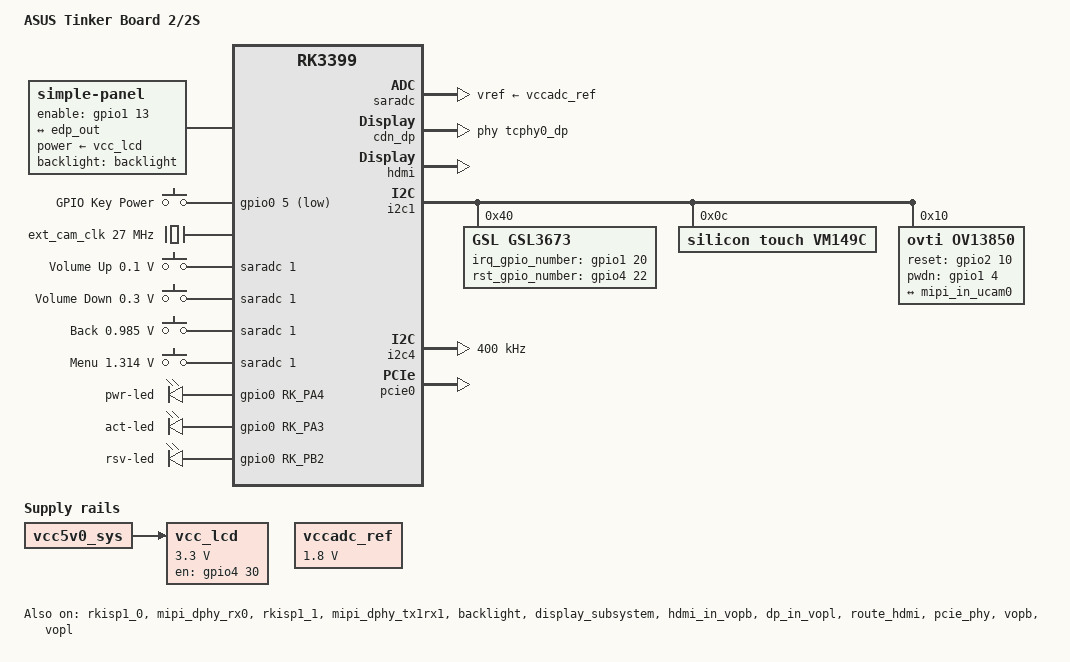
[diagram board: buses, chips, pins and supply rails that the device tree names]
// SPDX-License-Identifier: (GPL-2.0+ OR MIT)
/*
 * Copyright (c) 2022 Rockchip Electronics Co., Ltd.
 *
 */

/dts-v1/;

#include "rk3399-tinker_board_2.dtsi"
#include <dt-bindings/input/input.h>

/ {
	model = "ASUS Tinker Board 2/2S";
	compatible = "rockchip,rk3399-tinker_board_2", "rockchip,rk3399";

	vcc_lcd: vcc-lcd {
		compatible = "regulator-fixed";
		regulator-name = "vcc_lcd";
		gpio = <&gpio4 30 GPIO_ACTIVE_HIGH>;
		startup-delay-us = <20000>;
		enable-active-high;
		regulator-min-microvolt = <3300000>;
		regulator-max-microvolt = <3300000>;
		regulator-boot-on;
		vin-supply = <&vcc5v0_sys>;
	};

	panel: panel {
		compatible = "simple-panel";
		backlight = <&backlight>;
		power-supply = <&vcc_lcd>;
		enable-gpios = <&gpio1 13 GPIO_ACTIVE_HIGH>;
		prepare-delay-ms = <20>;
		enable-delay-ms = <20>;

		display-timings {
			native-mode = <&timing0>;

			timing0: timing0 {
				clock-frequency = <200000000>;
				hactive = <1536>;
				vactive = <2048>;
				hfront-porch = <12>;
				hsync-len = <16>;
				hback-porch = <48>;
				vfront-porch = <8>;
				vsync-len = <4>;
				vback-porch = <8>;
				hsync-active = <0>;
				vsync-active = <0>;
				de-active = <0>;
				pixelclk-active = <0>;
			};
		};

		ports {
			panel_in: endpoint {
				remote-endpoint = <&edp_out>;
			};
		};
	};

	hdmi_sound: hdmi-sound {
		status = "okay";
	};

	gpio-keys {
		compatible = "gpio-keys";
		#address-cells = <1>;
		#size-cells = <0>;
		autorepeat;

		pinctrl-names = "default";
		pinctrl-0 = <&pwrbtn>;

		button@0 {
			gpios = <&gpio0 5 GPIO_ACTIVE_LOW>;
			linux,code = <KEY_POWER>;
			label = "GPIO Key Power";
			linux,input-type = <1>;
			gpio-key,wakeup = <1>;
			debounce-interval = <100>;
		};
	};

	vccadc_ref: vccadc-ref {
		compatible = "regulator-fixed";
		regulator-name = "vcc1v8_sys";
		regulator-always-on;
		regulator-boot-on;
		regulator-min-microvolt = <1800000>;
		regulator-max-microvolt = <1800000>;
	};

	ext_cam_clk: external-camera-clock {
		compatible = "fixed-clock";
		clock-frequency = <27000000>;
		clock-output-names = "CLK_CAMERA_27MHZ";
		#clock-cells = <0>;
	};

	adc-keys {
		compatible = "adc-keys";
		io-channels = <&saradc 1>;
		io-channel-names = "buttons";
		poll-interval = <100>;
		keyup-threshold-microvolt = <1800000>;

		button-up {
			label = "Volume Up";
			linux,code = <KEY_VOLUMEUP>;
			press-threshold-microvolt = <100000>;
		};

		button-down {
			label = "Volume Down";
			linux,code = <KEY_VOLUMEDOWN>;
			press-threshold-microvolt = <300000>;
		};

		back {
			label = "Back";
			linux,code = <KEY_BACK>;
			press-threshold-microvolt = <985000>;
		};

		menu {
			label = "Menu";
			linux,code = <KEY_MENU>;
			press-threshold-microvolt = <1314000>;
		};
	};

	gpio-leds {
		compatible = "gpio-leds";

		pwr-led {
			gpios = <&gpio0 RK_PA4 GPIO_ACTIVE_HIGH>;
			linux,default-trigger = "default-on";
			retain-state-suspended = <1>;
		};

		act-led {
			gpios = <&gpio0 RK_PA3 GPIO_ACTIVE_HIGH>;
			linux,default-trigger="mmc1";
		};

		rsv-led {
			gpios = <&gpio0 RK_PB2 GPIO_ACTIVE_HIGH>;
			linux,default-trigger="none";
		};
	};

	board_info: board-info {
		compatible = "board-info";

		hw-id0 = <&gpio4 RK_PA7 GPIO_ACTIVE_HIGH>;
		hw-id1 = <&gpio4 RK_PA6 GPIO_ACTIVE_HIGH>;
		hw-id2 = <&gpio4 RK_PA5 GPIO_ACTIVE_HIGH>;

		pid-id0 = <&gpio2 RK_PA5 GPIO_ACTIVE_HIGH>;
		pid-id1 = <&gpio2 RK_PA3 GPIO_ACTIVE_HIGH>;
		pid-id2 = <&gpio2 RK_PA2 GPIO_ACTIVE_HIGH>;

		ddr-id1 = <&gpio4 RK_PA4 GPIO_ACTIVE_HIGH>;
		ddr-id2 = <&gpio4 RK_PA0 GPIO_ACTIVE_HIGH>;

		pmic-reset = <&gpio1 RK_PA6 GPIO_ACTIVE_HIGH>;
	};
};

&rkisp1_0 {
	status = "okay";

	port {
		#address-cells = <1>;
		#size-cells = <0>;

		isp0_mipi_in: endpoint@0 {
			reg = <0>;
			remote-endpoint = <&dphy_rx0_out>;
		};
	};
};

&mipi_dphy_rx0 {
	status = "okay";

	ports {
		#address-cells = <1>;
		#size-cells = <0>;

		port@0 {
			reg = <0>;
			#address-cells = <1>;
			#size-cells = <0>;

			mipi_in_ucam0: endpoint@1 {
				reg = <1>;
				remote-endpoint = <&ucam_out0>;
				data-lanes = <1 2>;
			};
		};

		port@1 {
			reg = <1>;
			#address-cells = <1>;
			#size-cells = <0>;

			dphy_rx0_out: endpoint@0 {
				reg = <0>;
				remote-endpoint = <&isp0_mipi_in>;
			};
		};
	};
};

&isp0_mmu {
	status = "okay";
};

&rkisp1_1 {
	status = "okay";

	port {
		#address-cells = <1>;
		#size-cells = <0>;

		isp1_mipi_in: endpoint@0 {
			reg = <0>;
			remote-endpoint = <&dphy_tx1rx1_out>;
		};
	};
};

&mipi_dphy_tx1rx1 {
	status = "okay";

	ports {
		#address-cells = <1>;
		#size-cells = <0>;

		port@0 {
			reg = <0>;
			#address-cells = <1>;
			#size-cells = <0>;

			mipi_in_ucam1: endpoint@1 {
				reg = <1>;
				/* Unlinked camera */
				//remote-endpoint = <&ucam_out1>;
				data-lanes = <1 2>;
			};
		};

		port@1 {
			reg = <1>;
			#address-cells = <1>;
			#size-cells = <0>;

			dphy_tx1rx1_out: endpoint@0 {
				reg = <0>;
				remote-endpoint = <&isp1_mipi_in>;
			};
		};
	};
};

&isp1_mmu {
	status = "okay";
};

&saradc {
	vref-supply = <&vccadc_ref>;
};

&backlight {
	status = "okay";
	enable-gpios = <&gpio4 29 GPIO_ACTIVE_HIGH>;
};

&cdn_dp {
	status = "okay";
	phys = <&tcphy0_dp>;
};

&display_subsystem {
	status = "okay";
};

&route_edp {
	status = "disabled";
};

&edp {
	status = "disabled";
	force-hpd;

	ports {
		port@1 {
			reg = <1>;

			edp_out: endpoint {
				remote-endpoint = <&panel_in>;
			};
		};
	};
};

&edp_in_vopb {
	status = "disabled";
};

&hdmi {
	pinctrl-0 = <&hdmi_i2c_xfer>, <&hdmi_cec>;
	#sound-dai-cells = <0>;
	rockchip,phy-table =
		<92812500 0x8009 0x0000 0x02ed>,
		<165000000 0x8019 0x0000 0x02cd>,
		<185625000 0x8019 0x0000 0x02cd>,
		<297000000 0x800b 0x0000 0x01cd>,
		<594000000 0x8029 0x0000 0x00a4>,
		<000000000 0x0000 0x0000 0x0000>;
	status = "okay";
};

&hdmi_in_vopb {
	status = "okay";
};

&hdmi_in_vopl {
	status = "disabled";
};

&dp_in_vopb {
	status = "disabled";
};

&dp_in_vopl {
	status = "okay";
};

&route_hdmi {
	status = "okay";
	connect = <&vopb_out_hdmi>;
};

&i2c1 {
	status = "okay";

	gsl3673: gsl3673@40 {
		compatible = "GSL,GSL3673";
		reg = <0x40>;
		screen_max_x = <1536>;
		screen_max_y = <2048>;
		irq_gpio_number = <&gpio1 20 IRQ_TYPE_LEVEL_LOW>;
		rst_gpio_number = <&gpio4 22 GPIO_ACTIVE_HIGH>;
	};

	tc358749x: tc358749x@f {
		compatible = "toshiba,tc358749";
		reg = <0xf>;
		clocks = <&ext_cam_clk>;
		clock-names = "refclk";
		reset-gpios = <&gpio2 7 GPIO_ACTIVE_LOW>;
		interrupt-parent = <&gpio2>;
		interrupts = <12 IRQ_TYPE_LEVEL_LOW>;
		pinctrl-names = "default";
		//pinctrl-0 = <&hdmiin_gpios>;
		status = "disabled";
		port {
			hdmiin_out0: endpoint {
				/* Unlinked mipi dphy rx0 */
				//remote-endpoint = <&mipi_in_ucam0>;
				data-lanes = <1 2 3 4>;
				clock-noncontinuous;
				link-frequencies =
					/bits/ 64 <297000000>;
			};
		};
	};

	vm149c: vm149c@0c {
		compatible = "silicon touch,vm149c";
		status = "okay";
		reg = <0x0c>;
		rockchip,camera-module-index = <0>;
		rockchip,camera-module-facing = "back";
	};

	ov13850: ov13850@10 {
		compatible = "ovti,ov13850";
		status = "okay";
		reg = <0x10>;
		clocks = <&cru SCLK_CIF_OUT>;
		clock-names = "xvclk";

		/* conflict with csi-ctl-gpios */
		reset-gpios = <&gpio2 10 GPIO_ACTIVE_HIGH>;
		pwdn-gpios = <&gpio1 4 GPIO_ACTIVE_HIGH>;
		pinctrl-names = "rockchip,camera_default";
		pinctrl-0 = <&cif_clkout>;

		lens-focus = <&vm149c>;

		port {
			ucam_out0: endpoint {
				remote-endpoint = <&mipi_in_ucam0>;
				data-lanes = <1 2>;
			};
		};
	};
};

&i2c4 {
	clock-frequency = <400000>;
	status = "okay";
};

&i2c6 {
	status = "disabled";
};

&i2c7 {
	status = "disabled";
};

&pcie_phy {
	status = "okay";
};

&pcie0 {
	status = "okay";
};

&vopb {
	status = "okay";
	assigned-clocks = <&cru DCLK_VOP0_DIV>;
	assigned-clock-parents = <&cru PLL_VPLL>;
};

&vopb_mmu {
	status = "okay";
};

&vopl {
	status = "okay";
	assigned-clocks = <&cru DCLK_VOP1_DIV>;
	assigned-clock-parents = <&cru PLL_CPLL>;
};

&vopl_mmu {
	status = "okay";
};

&sdmmc {
	sd-uhs-sdr12;
	sd-uhs-sdr25;
	sd-uhs-sdr50;
	sd-uhs-sdr104;
	supports-emmc;
};

&cluster0_opp {
	opp-1512000000 {
		opp-hz = /bits/ 64 <1512000000>;
		opp-microvolt = <1150000 1150000 1250000>;
		opp-microvolt-L0 = <1150000 1150000 1250000>;
		opp-microvolt-L1 = <1150000 1150000 1250000>;
		opp-microvolt-L2 = <1150000 1150000 1250000>;
		opp-microvolt-L3 = <1150000 1150000 1250000>;
		clock-latency-ns = <40000>;
	};
};

&cluster1_opp {
	opp-2016000000 {
		opp-hz = /bits/ 64 <2016000000>;
		opp-microvolt = <1250000 1250000 1250000>;
		opp-microvolt-L0 = <1250000 1250000 1250000>;
		opp-microvolt-L1 = <1250000 1250000 1250000>;
		opp-microvolt-L2 = <1250000 1250000 1250000>;
		opp-microvolt-L3 = <1250000 1250000 1250000>;
		opp-microvolt-L4 = <1250000 1250000 1250000>;
		clock-latency-ns = <40000>;
	};
};

&pinctrl {
	pinctrl-names = "default";
	pinctrl-0 = <&gpio_init &test_clkout2>;

	gpio_init_config {
		gpio_init: gpio_init {
			rockchip,pins =
				<1 RK_PA7 RK_FUNC_GPIO &pcfg_pull_none>,
				<1 RK_PB0 RK_FUNC_GPIO &pcfg_pull_none>,
				<1 RK_PB1 RK_FUNC_GPIO &pcfg_pull_none>,
				<1 RK_PB2 RK_FUNC_GPIO &pcfg_pull_none>,
				<2 RK_PC3 RK_FUNC_GPIO &pcfg_pull_none>;
		};
	};

	buttons {
		pwrbtn: pwrbtn {
			rockchip,pins = <0 RK_PA5 RK_FUNC_GPIO &pcfg_pull_up>;
		};
	};

	lcd-panel {
		lcd_panel_reset: lcd-panel-reset {
			rockchip,pins = <4 RK_PD6 RK_FUNC_GPIO &pcfg_pull_up>;
		};
	};
};
